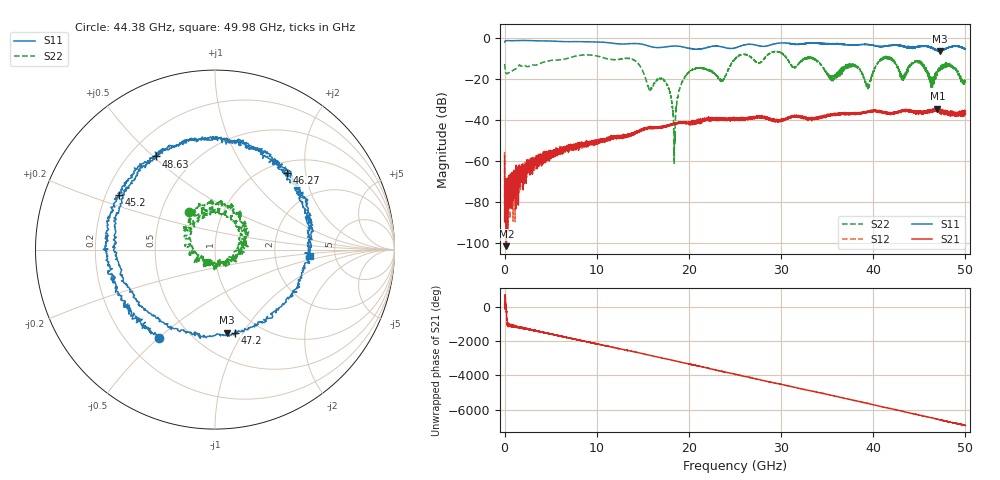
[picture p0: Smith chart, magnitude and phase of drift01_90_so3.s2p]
!Created with skrf (http://scikit-rf.org).
# Hz S RI R 50.0
!freq ReS11 ImS11 ReS21 ImS21 ReS12 ImS12 ReS22 ImS22
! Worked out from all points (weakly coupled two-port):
!   10001 points, 300 kHz to 50 GHz, reference 50 ohm
!   highest |S21| = -34.49 dB at 46.97 GHz (marker M1); lowest = -101.5 dB at 190.3 MHz (marker M2)
!   lowest |S11| = -6.6 dB at 47.24 GHz (marker M3), VSWR 2.75, Z = 35.9 - j42.5 ohm
!   |S11| at or under -10 dB: nowhere
!   |S22| runs from -61.2 to -6.6 dB; largest |S21 - S12| = 0.0041
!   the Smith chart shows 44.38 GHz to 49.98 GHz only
!   S11 on the Smith chart (normalised r, x): 44.38 GHz: 0.33, -0.50; 45.2 GHz: 0.25, +0.25; 46.27 GHz: 1.22, +1.57; 47.2 GHz: 0.77, -0.92; 48.63 GHz: 0.31, +0.51; 49.98 GHz: 3.21, -0.33
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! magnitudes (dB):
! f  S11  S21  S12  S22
! 300 kHz  -2.1  -57.8  -55.6  -12.8
! 190.3 MHz  -1.4  -101.5  -74.0  -17.5
! 8.335 GHz  -1.9  -52.5  -52.7  -8.5
! 16.67 GHz  -4.8  -43.5  -43.7  -20.0
! 17.74 GHz  -4.3  -42.9  -42.8  -24.1
! 18.44 GHz  -4.1  -41.5  -41.8  -48.7
! 19.93 GHz  -5.1  -41.5  -41.4  -17.2
! 23.6 GHz  -4.5  -39.2  -39.8  -20.5
! 25 GHz  -5.0  -39.7  -39.5  -10.3
! 33.34 GHz  -2.6  -40.4  -39.4  -9.9
! 39.46 GHz  -3.3  -35.9  -36.2  -23.3
! 41.67 GHz  -3.9  -36.7  -36.8  -9.9
! 43.18 GHz  -4.1  -35.8  -36.1  -18.8
! 44.38 GHz  -4.7  -35.9  -36.1  -11.9
! 45.2 GHz  -4.2  -36.5  -36.3  -12.0
! 46.27 GHz  -4.7  -35.9  -36.0  -22.8
! 46.97 GHz  -6.3  -34.5  -35.4  -17.2
! 47.2 GHz  -6.4  -35.7  -34.9  -14.6
! 47.24 GHz  -6.6  -35.5  -35.5  -15.4
! 48.63 GHz  -4.2  -37.3  -37.6  -14.5
! 49.98 GHz  -5.5  -35.9  -36.5  -21.7
! 50 GHz  -5.5  -37.4  -35.9  -21.8
